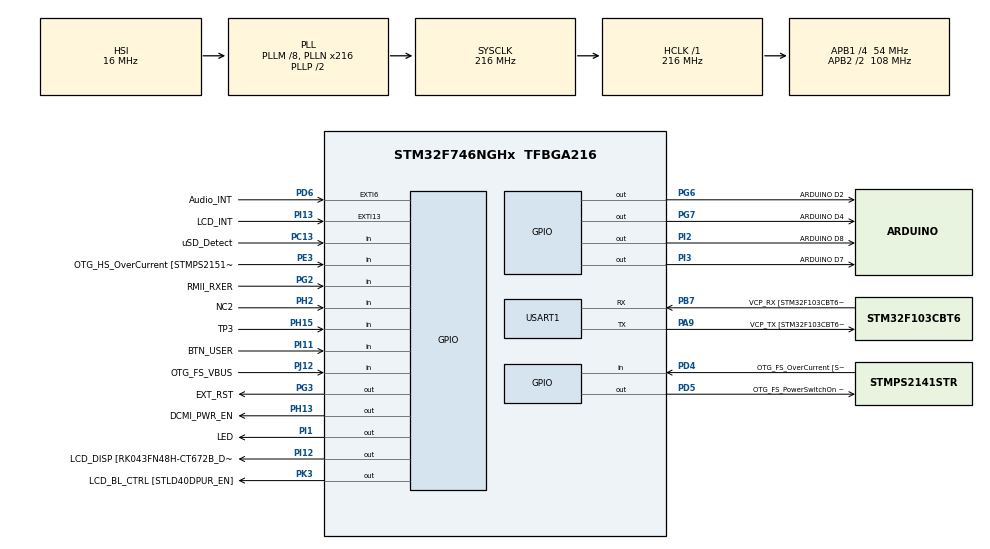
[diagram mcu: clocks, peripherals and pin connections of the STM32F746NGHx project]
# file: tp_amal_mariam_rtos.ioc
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FREERTOS.Tasks01=defaultTask,0,128,StartDefaultTask,Default,NULL,Dynamic,NULL,NULL
FREERTOS.configCHECK_FOR_STACK_OVERFLOW=2
FREERTOS.configGENERATE_RUN_TIME_STATS=1
FREERTOS.configRECORD_STACK_HIGH_ADDRESS=1
FREERTOS.configTOTAL_HEAP_SIZE=30720
FREERTOS.configUSE_STATS_FORMATTING_FUNCTIONS=1
FREERTOS.configUSE_TIMERS=0
FREERTOS.configUSE_TRACE_FACILITY=1
Mcu.Family=STM32F7
Mcu.Name=STM32F746NGHx
Mcu.Package=TFBGA216
NVIC.PriorityGroup=NVIC_PRIORITYGROUP_4
NVIC.TIM6_DAC_IRQn=true\:5\:0\:false\:false\:true\:true\:true\:true\:true
NVIC.USART1_IRQn=true\:5\:0\:false\:false\:true\:true\:true\:true\:true
PA0/WKUP.GPIO_Label=ARDUINO A0
PA0/WKUP.GPIO_Mode=GPIO_MODE_ANALOG
PA0/WKUP.GPIO_PuPd=GPIO_NOPULL
PA0/WKUP.Signal=ADCx_IN0
PA1.GPIO_Label=RMII_REF_CLK [LAN8742A-CZ-TR_REFCLK0]
PA1.Signal=ETH_REF_CLK
PA10.GPIO_Label=OTG_FS_ID
PA10.Signal=USB_OTG_FS_ID
PA11.GPIO_Label=OTG_FS_N
PA11.Signal=USB_OTG_FS_DM
PA12.GPIO_Label=OTG_FS_P
PA12.Signal=USB_OTG_FS_DP
PA13.GPIO_Label=SWDIO
PA13.Mode=Trace_Asynchronous_SW
PA13.Signal=SYS_JTMS-SWDIO
PA14.GPIO_Label=SWCLK
PA14.Mode=Trace_Asynchronous_SW
PA14.Signal=SYS_JTCK-SWCLK
PA15.GPIO_Label=ARDUINO PWM/D9
PA15.GPIO_ModeDefaultPP=GPIO_MODE_AF_PP
PA15.GPIO_PuPd=GPIO_NOPULL
PA15.GPIO_Speed=GPIO_SPEED_FREQ_LOW
PA15.Signal=S_TIM2_CH1_ETR
PA2.GPIO_Label=RMII_MDIO [LAN8742A-CZ-TR_MDIO]
PA2.Signal=ETH_MDIO
PA3.GPIO_Label=ULPI_D0 [USB3320C-EZK_D0]
PA3.Signal=USB_OTG_HS_ULPI_D0
PA4.GPIO_Label=DCMI_HSYNC
PA4.Signal=DCMI_HSYNC
PA5.GPIO_Label=ULPI_CLK [USB3320C-EZK_CLKOUT]
PA5.Signal=USB_OTG_HS_ULPI_CK
PA6.Signal=DCMI_PIXCLK
PA7.GPIO_Label=RMII_CRS_DV [LAN8742A-CZ-TR_CRS_DV]
PA7.Signal=ETH_CRS_DV
PA8.GPIO_Label=ARDUINO PWM/D10
PA8.GPIO_ModeDefaultPP=GPIO_MODE_AF_PP
PA8.GPIO_PuPd=GPIO_NOPULL
PA8.GPIO_Speed=GPIO_SPEED_FREQ_LOW
PA8.Signal=S_TIM1_CH1
PA9.GPIO_Label=VCP_TX [STM32F103CBT6_PA3]
PA9.GPIO_Mode=GPIO_MODE_AF_PP
PA9.GPIO_PuPd=GPIO_NOPULL
PA9.GPIO_Speed=GPIO_SPEED_FREQ_LOW
PA9.Mode=Asynchronous
PA9.Signal=USART1_TX
PB0.GPIO_Label=ULPI_D1 [USB3320C-EZK_D1]
PB0.Signal=USB_OTG_HS_ULPI_D1
PB1.GPIO_Label=ULPI_D2 [USB3320C-EZK_D2]
PB1.Signal=USB_OTG_HS_ULPI_D2
PB10.GPIO_Label=ULPI_D3 [USB3320C-EZK_D3]
PB10.Signal=USB_OTG_HS_ULPI_D3
PB11.GPIO_Label=ULPI_D4 [USB3320C-EZK_D4]
PB11.Signal=USB_OTG_HS_ULPI_D4
PB12.GPIO_Label=ULPI_D5 [USB3320C-EZK_D5]
PB12.Signal=USB_OTG_HS_ULPI_D5
PB13.GPIO_Label=ULPI_D6 [USB3320C-EZK_D6]
PB13.Signal=USB_OTG_HS_ULPI_D6
PB14.GPIO_Label=ARDUINO MISO/D12
PB14.GPIO_Mode=GPIO_MODE_AF_PP
PB14.GPIO_PuPd=GPIO_NOPULL
PB14.GPIO_Speed=GPIO_SPEED_FREQ_LOW
PB14.Signal=SPI2_MISO
PB15.GPIO_Label=ARDUINO MOSI/PWM/D11
PB15.GPIO_Mode=GPIO_MODE_AF_PP
PB15.GPIO_PuPd=GPIO_NOPULL
PB15.GPIO_Speed=GPIO_SPEED_FREQ_LOW
PB15.Signal=SPI2_MOSI
PB2.Signal=QUADSPI_CLK
PB3.GPIO_Label=SWO
PB3.Mode=Trace_Asynchronous_SW
PB3.Signal=SYS_JTDO-SWO
PB4.GPIO_Label=ARDUINO PWM/D3
PB4.GPIO_ModeDefaultPP=GPIO_MODE_AF_PP
PB4.GPIO_PuPd=GPIO_NOPULL
PB4.GPIO_Speed=GPIO_SPEED_FREQ_LOW
PB4.Signal=S_TIM3_CH1
PB5.GPIO_Label=ULPI_D7 [USB3320C-EZK_D7]
PB5.Signal=USB_OTG_HS_ULPI_D7
PB6.GPIO_Label=QSPI_NCS [N25Q128A13EF840E_S]
PB6.Signal=QUADSPI_BK1_NCS
PB7.GPIO_Label=VCP_RX [STM32F103CBT6_PA2]
PB7.GPIO_Mode=GPIO_MODE_AF_PP
PB7.GPIO_PuPd=GPIO_NOPULL
PB7.GPIO_Speed=GPIO_SPEED_FREQ_LOW
PB7.Mode=Asynchronous
PB7.Signal=USART1_RX
PB8.GPIO_Label=ARDUINO SCL/D15
PB8.GPIO_Mode=GPIO_MODE_AF_OD
PB8.GPIO_PuPd=GPIO_NOPULL
PB8.GPIO_Speed=GPIO_SPEED_FREQ_LOW
PB8.Signal=I2C1_SCL
PB9.GPIO_Label=ARDUINO SDA/D14
PB9.GPIO_Mode=GPIO_MODE_AF_OD
PB9.GPIO_PuPd=GPIO_NOPULL
PB9.GPIO_Speed=GPIO_SPEED_FREQ_LOW
PB9.Signal=I2C1_SDA
PC0.GPIO_Label=ULPI_STP [USB3320C-EZK_STP]
PC0.Signal=USB_OTG_HS_ULPI_STP
PC1.GPIO_Label=RMII_MDC [LAN8742A-CZ-TR_MDC]
PC1.Signal=ETH_MDC
PC10.GPIO_Label=SDMMC_D2
PC10.Signal=SDMMC1_D2
PC11.GPIO_Label=SDMMC_D3
PC11.Signal=SDMMC1_D3
PC12.GPIO_Label=SDMMC_CK
PC12.Signal=SDMMC1_CK
PC13.GPIO_Label=uSD_Detect
PC13.Signal=GPIO_Input
PC14/OSC32_IN.GPIO_Label=RCC_OSC32_IN
PC14/OSC32_IN.Signal=RCC_OSC32_IN
PC15/OSC32_OUT.GPIO_Label=RCC_OSC32_OUT
PC15/OSC32_OUT.Signal=RCC_OSC32_OUT
PC2.GPIO_Label=ULPI_DIR [USB3320C-EZK_DIR]
PC2.Signal=USB_OTG_HS_ULPI_DIR
PC3.GPIO_Label=FMC_SDCKE0 [MT48LC4M32B2B5-6A_CKE]
PC3.Signal=FMC_SDCKE0
PC4.GPIO_Label=RMII_RXD0 [LAN8742A-CZ-TR_RXD0]
PC4.Signal=ETH_RXD0
PC5.GPIO_Label=RMII_RXD1 [LAN8742A-CZ-TR_RXD1]
PC5.Signal=ETH_RXD1
PC6.GPIO_Label=ARDUINO TX/D1
PC6.Signal=USART6_TX
PC7.GPIO_Label=ARDUINO RX/D0
PC7.Signal=USART6_RX
PC8.Signal=SDMMC1_D0
PC9.Signal=SDMMC1_D1
PD0.GPIO_Label=FMC_D2 [MT48LC4M32B2B5-6A_DQ2]
PD0.Signal=FMC_D2_DA2
PD1.GPIO_Label=FMC_D3 [MT48LC4M32B2B5-6A_DQ3]
PD1.Signal=FMC_D3_DA3
PD10.GPIO_Label=FMC_D15 [MT48LC4M32B2B5-6A_DQ15]
PD10.Signal=FMC_D15_DA15
PD11.GPIO_Label=QSPI_D0 [N25Q128A13EF840E_DQ0]
PD11.Signal=QUADSPI_BK1_IO0
PD12.GPIO_Label=QSPI_D1 [N25Q128A13EF840E_DQ1]
PD12.Signal=QUADSPI_BK1_IO1
PD13.GPIO_Label=QSPI_D3 [N25Q128A13EF840E_DQ3]
PD13.Signal=QUADSPI_BK1_IO3
PD14.GPIO_Label=FMC_D0 [MT48LC4M32B2B5-6A_DQ0]
PD14.Signal=FMC_D0_DA0
PD15.GPIO_Label=FMC_D1 [MT48LC4M32B2B5-6A_DQ1]
PD15.Signal=FMC_D1_DA1
PD2.GPIO_Label=SDMMC_D0
PD2.Signal=SDMMC1_CMD
PD3.GPIO_Label=DCMI_D5
PD3.Signal=DCMI_D5
PD4.GPIO_Label=OTG_FS_OverCurrent [STMPS2141STR_Fault]
PD4.Signal=GPIO_Input
PD5.GPIO_Label=OTG_FS_PowerSwitchOn [STMPS2141STR_EN]
PD5.PinState=GPIO_PIN_SET
PD5.Signal=GPIO_Output
PD6.GPIO_Label=Audio_INT
PD6.GPIO_ModeDefaultEXTI=GPIO_MODE_EVT_RISING
PD6.Signal=GPXTI6
PD7.GPIO_Label=SPDIF_RX0 [74LVC1G04SE_4]
PD7.Signal=SPDIFRX_IN0
PD8.GPIO_Label=FMC_D13 [MT48LC4M32B2B5-6A_DQ13]
PD8.Signal=FMC_D13_DA13
PD9.GPIO_Label=FMC_D14 [MT48LC4M32B2B5-6A_DQ14]
PD9.Signal=FMC_D14_DA14
PE0.GPIO_Label=FMC_NBL0 [MT48LC4M32B2B5-6A_DQM0]
PE0.Signal=FMC_NBL0
PE1.GPIO_Label=FMC_NBL1 [MT48LC4M32B2B5-6A_DQM1]
PE1.Signal=FMC_NBL1
PE10.GPIO_Label=FMC_D7 [MT48LC4M32B2B5-6A_DQ7]
PE10.Signal=FMC_D7_DA7
PE11.GPIO_Label=FMC_D8 [MT48LC4M32B2B5-6A_DQ8]
PE11.Signal=FMC_D8_DA8
PE12.GPIO_Label=FMC_D9 [MT48LC4M32B2B5-6A_DQ9]
PE12.Signal=FMC_D9_DA9
PE13.GPIO_Label=FMC_D10 [MT48LC4M32B2B5-6A_DQ10]
PE13.Signal=FMC_D10_DA10
PE14.GPIO_Label=FMC_D11 [MT48LC4M32B2B5-6A_DQ11]
PE14.Signal=FMC_D11_DA11
PE15.GPIO_Label=FMC_D12 [MT48LC4M32B2B5-6A_DQ12]
PE15.Signal=FMC_D12_DA12
PE2.GPIO_Label=QSPI_D2 [N25Q128A13EF840E_DQ2]
PE2.Signal=QUADSPI_BK1_IO2
PE3.GPIO_Label=OTG_HS_OverCurrent [STMPS2151STR_FAULT]
PE3.Signal=GPIO_Input
PE4.GPIO_Label=LCD_B0 [RK043FN48H-CT672B_B0]
PE4.Signal=LTDC_B0
PE5.GPIO_Label=DCMI_D6
PE5.Signal=DCMI_D6
PE6.GPIO_Label=DCMI_D7
PE6.Signal=DCMI_D7
PE7.GPIO_Label=FMC_D4 [MT48LC4M32B2B5-6A_DQ4]
PE7.Signal=FMC_D4_DA4
PE8.GPIO_Label=FMC_D5 [MT48LC4M32B2B5-6A_DQ5]
PE8.Signal=FMC_D5_DA5
PE9.GPIO_Label=FMC_D6 [MT48LC4M32B2B5-6A_DQ6]
PE9.Signal=FMC_D6_DA6
PF0.GPIO_Label=FMC_A0 [MT48LC4M32B2B5-6A_A0]
PF0.Signal=FMC_A0
PF1.GPIO_Label=FMC_A1 [MT48LC4M32B2B5-6A_A1]
PF1.Signal=FMC_A1
PF10.GPIO_Label=ARDUINO A1
PF10.GPIO_Mode=GPIO_MODE_ANALOG
PF10.GPIO_PuPd=GPIO_NOPULL
PF10.Signal=ADC3_IN8
PF11.GPIO_Label=FMC_SDNRAS [MT48LC4M32B2B5-6A_RAS]
PF11.Signal=FMC_SDNRAS
PF12.GPIO_Label=FMC_A6 [MT48LC4M32B2B5-6A_A6]
PF12.Signal=FMC_A6
PF13.GPIO_Label=FMC_A7 [MT48LC4M32B2B5-6A_A7]
PF13.Signal=FMC_A7
PF14.GPIO_Label=FMC_A8 [MT48LC4M32B2B5-6A_A8]
PF14.Signal=FMC_A8
PF15.GPIO_Label=FMC_A9 [MT48LC4M32B2B5-6A_A9]
PF15.Signal=FMC_A9
PF2.GPIO_Label=FMC_A2 [MT48LC4M32B2B5-6A_A2]
PF2.Signal=FMC_A2
PF3.GPIO_Label=FMC_A3 [MT48LC4M32B2B5-6A_A3]
PF3.Signal=FMC_A3
PF4.GPIO_Label=FMC_A4 [MT48LC4M32B2B5-6A_A4]
PF4.Signal=FMC_A4
PF5.GPIO_Label=FMC_A5 [MT48LC4M32B2B5-6A_A5]
PF5.Signal=FMC_A5
PF6.GPIO_Label=ARDUINO A5
PF6.GPIO_Mode=GPIO_MODE_ANALOG
PF6.GPIO_PuPd=GPIO_NOPULL
PF6.Signal=ADC3_IN4
PF7.GPIO_Label=ARDUINO A4
PF7.GPIO_Mode=GPIO_MODE_ANALOG
PF7.GPIO_PuPd=GPIO_NOPULL
PF7.Signal=ADC3_IN5
PF8.GPIO_Label=ARDUINO A3
PF8.GPIO_Mode=GPIO_MODE_ANALOG
PF8.GPIO_PuPd=GPIO_NOPULL
PF8.Signal=ADC3_IN6
PF9.GPIO_Label=ARDUINO A2
PF9.GPIO_Mode=GPIO_MODE_ANALOG
PF9.GPIO_PuPd=GPIO_NOPULL
PF9.Signal=ADC3_IN7
PG0.GPIO_Label=FMC_A10 [MT48LC4M32B2B5-6A_A10]
PG0.Signal=FMC_A10
PG1.GPIO_Label=FMC_A11 [MT48LC4M32B2B5-6A_A11]
PG1.Signal=FMC_A11
PG10.GPIO_Label=SAI2_SDB [WM8994ECS/R_ADCDAT1]
PG10.Signal=SAI2_SD_B
PG11.GPIO_Label=RMII_TX_EN [LAN8742A-CZ-TR_TXEN]
PG11.Signal=ETH_TX_EN
PG12.GPIO_Label=LCD_B4 [RK043FN48H-CT672B_B4]
PG12.Signal=LTDC_B4
PG13.GPIO_Label=RMII_TXD0 [LAN8742A-CZ-TR_TXD0]
PG13.Signal=ETH_TXD0
PG14.GPIO_Label=RMII_TXD1 [LAN8742A-CZ-TR_TXD1]
PG14.Signal=ETH_TXD1
PG15.GPIO_Label=FMC_SDNCAS [MT48LC4M32B2B5-6A_CAS]
PG15.Signal=FMC_SDNCAS
PG2.GPIO_Label=RMII_RXER
PG2.Signal=GPIO_Input
PG3.GPIO_Label=EXT_RST
PG3.Signal=GPIO_Output
PG4.GPIO_Label=FMC_BA0 [MT48LC4M32B2B5-6A_BA0]
PG4.Signal=FMC_A14_BA0
PG5.GPIO_Label=FMC_BA1 [MT48LC4M32B2B5-6A_BA1]
PG5.Signal=FMC_A15_BA1
PG6.GPIO_Label=ARDUINO D2
PG6.Signal=GPIO_Output
PG7.GPIO_Label=ARDUINO D4
PG7.Signal=GPIO_Output
PG8.GPIO_Label=FMC_SDCLK [MT48LC4M32B2B5-6A_CLK]
PG8.Signal=FMC_SDCLK
PG9.GPIO_Label=DCMI_VSYNC
PG9.Signal=DCMI_VSYNC
PH0/OSC_IN.GPIO_Label=OSC_25M [NZ2520SB-25.00M_OUT]
PH0/OSC_IN.Mode=HSE-External-Oscillator
PH0/OSC_IN.Signal=RCC_OSC_IN
PH1/OSC_OUT.Mode=HSE-External-Oscillator
PH1/OSC_OUT.Signal=RCC_OSC_OUT
PH10.GPIO_Label=DCMI_D1
PH10.Signal=DCMI_D1
PH11.GPIO_Label=DCMI_D2
PH11.Signal=DCMI_D2
PH12.GPIO_Label=DCMI_D3
PH12.Signal=DCMI_D3
PH13.GPIO_Label=DCMI_PWR_EN
PH13.Signal=GPIO_Output
PH14.GPIO_Label=DCMI_D4
PH14.Signal=DCMI_D4
PH15.GPIO_Label=TP3
PH15.Signal=GPIO_Input
PH2.GPIO_Label=NC2
PH2.Signal=GPIO_Input
PH3.GPIO_Label=FMC_SDNE0 [MT48LC4M32B2B5-6A_CS]
PH3.Signal=FMC_SDNE0
PH4.GPIO_Label=ULPI_NXT [USB3320C-EZK_NXT]
PH4.Signal=USB_OTG_HS_ULPI_NXT
PH5.GPIO_Label=FMC_SDNME [MT48LC4M32B2B5-6A_WE]
PH5.Signal=FMC_SDNWE
PH6.GPIO_Label=ARDUINO PWM/D6
PH6.Signal=S_TIM12_CH1
PH7.GPIO_Label=LCD_SCL [RK043FN48H-CT672B_SCL]
PH7.Signal=I2C3_SCL
PH8.GPIO_Label=LCD_SDA [RK043FN48H-CT672B_SDA]
PH8.Signal=I2C3_SDA
PH9.GPIO_Label=DCMI_D0
PH9.Signal=DCMI_D0
PI0.GPIO_Label=ARDUINO PWM/CS/D5
PI0.GPIO_ModeDefaultPP=GPIO_MODE_AF_PP
PI0.GPIO_PuPd=GPIO_NOPULL
PI0.GPIO_Speed=GPIO_SPEED_FREQ_LOW
PI0.Signal=S_TIM5_CH4
PI1.GPIO_Label=LED
PI1.Signal=GPIO_Output
PI10.GPIO_Label=LCD_HSYNC [RK043FN48H-CT672B_HSYNC]
PI10.Signal=LTDC_HSYNC
PI11.GPIO_Label=BTN_USER
PI11.GPIO_PuPd=GPIO_PULLUP
PI11.Signal=GPIO_Input
PI12.GPIO_Label=LCD_DISP [RK043FN48H-CT672B_DISP] 
PI12.Signal=GPIO_Output
PI13.GPIO_Label=LCD_INT
PI13.GPIO_ModeDefaultEXTI=GPIO_MODE_EVT_RISING
PI13.Signal=GPXTI13
PI14.GPIO_Label=LCD_CLK [RK043FN48H-CT672B_CLK]
PI14.Signal=LTDC_CLK
PI15.GPIO_Label=LCD_R0 [RK043FN48H-CT672B_R0]
PI15.Signal=LTDC_R0
PI2.GPIO_Label=ARDUINO D8
PI2.Signal=GPIO_Output
PI3.GPIO_Label=ARDUINO D7
PI3.Signal=GPIO_Output
PI4.GPIO_Label=SAI2_MCLKA [WM8994ECS/R_MCLK1]
PI4.Signal=SAI2_MCLK_A
PI5.GPIO_Label=SAI2_SCKA [WM8994ECS/R_BCLK1]
PI5.Signal=SAI2_SCK_A
PI6.GPIO_Label=SAI2_SDA [WM8994ECS/R_DACDAT1]
PI6.Signal=SAI2_SD_A
PI7.GPIO_Label=SAI2_FSA [WM8994ECS/R_LRCLK1]
PI7.Signal=SAI2_FS_A
PI8.GPIO_Label=NC1 [TP2]
PI8.Signal=RTC_TS
PI9.GPIO_Label=LCD_VSYNC [RK043FN48H-CT672B_VSYNC]
PI9.Signal=LTDC_VSYNC
PJ0.GPIO_Label=LCD_R1 [RK043FN48H-CT672B_R1]
PJ0.Signal=LTDC_R1
PJ1.GPIO_Label=LCD_R2 [RK043FN48H-CT672B_R2]
PJ1.Signal=LTDC_R2
PJ10.GPIO_Label=LCD_G3 [RK043FN48H-CT672B_G3]
PJ10.Signal=LTDC_G3
PJ11.GPIO_Label=LCD_G4 [RK043FN48H-CT672B_G4]
PJ11.Signal=LTDC_G4
PJ12.GPIO_Label=OTG_FS_VBUS
PJ12.Signal=GPIO_Input
PJ13.GPIO_Label=LCD_B1 [RK043FN48H-CT672B_B1]
PJ13.Signal=LTDC_B1
PJ14.GPIO_Label=LCD_B2 [RK043FN48H-CT672B_B2]
PJ14.Signal=LTDC_B2
PJ15.GPIO_Label=LCD_B3 [RK043FN48H-CT672B_B3]
PJ15.Signal=LTDC_B3
PJ2.GPIO_Label=LCD_R3 [RK043FN48H-CT672B_R3]
PJ2.Signal=LTDC_R3
PJ3.GPIO_Label=LCD_R4 [RK043FN48H-CT672B_R4]
PJ3.Signal=LTDC_R4
PJ4.GPIO_Label=LCD_R5 [RK043FN48H-CT672B_R5]
PJ4.Signal=LTDC_R5
PJ5.GPIO_Label=LCD_R6 [RK043FN48H-CT672B_R6]
PJ5.Signal=LTDC_R6
PJ6.GPIO_Label=LCD_R7 [RK043FN48H-CT672B_R7]
PJ6.Signal=LTDC_R7
PJ7.GPIO_Label=LCD_G0 [RK043FN48H-CT672B_G0]
PJ7.Signal=LTDC_G0
PJ8.GPIO_Label=LCD_G1 [RK043FN48H-CT672B_G1]
PJ8.Signal=LTDC_G1
PJ9.GPIO_Label=LCD_G2 [RK043FN48H-CT672B_G2]
PJ9.Signal=LTDC_G2
PK0.GPIO_Label=LCD_G5 [RK043FN48H-CT672B_G5]
PK0.Signal=LTDC_G5
PK1.GPIO_Label=LCD_G6 [RK043FN48H-CT672B_G6]
PK1.Signal=LTDC_G6
PK2.GPIO_Label=LCD_G7 [RK043FN48H-CT672B_G7]
PK2.Signal=LTDC_G7
PK3.GPIO_Label=LCD_BL_CTRL [STLD40DPUR_EN]
PK3.Signal=GPIO_Output
PK4.GPIO_Label=LCD_B5 [RK043FN48H-CT672B_B5]
PK4.Signal=LTDC_B5
PK5.GPIO_Label=LCD_B6 [RK043FN48H-CT672B_B6]
PK5.Signal=LTDC_B6
PK6.GPIO_Label=LCD_B7 [RK043FN48H-CT672B_B7]
PK6.Signal=LTDC_B7
PK7.GPIO_Label=LCD_DE [RK043FN48H-CT672B_DE]
PK7.Signal=LTDC_DE
ProjectManager.HeapSize=0x200
ProjectManager.StackSize=0x400
ProjectManager.TargetToolchain=STM32CubeIDE
RCC.AHBFreq_Value=216000000
RCC.APB1CLKDivider=RCC_HCLK_DIV4
RCC.APB1Freq_Value=54000000
RCC.APB1TimFreq_Value=108000000
RCC.APB2CLKDivider=RCC_HCLK_DIV2
RCC.APB2Freq_Value=108000000
RCC.APB2TimFreq_Value=216000000
RCC.CortexFreq_Value=216000000
RCC.HCLKFreq_Value=216000000
RCC.HSE_VALUE=25000000
RCC.HSI_VALUE=16000000
RCC.LSE_VALUE=32768
RCC.PLLM=8
RCC.PLLN=216
RCC.SYSCLKFreq_VALUE=216000000
RCC.SYSCLKSource=RCC_SYSCLKSOURCE_PLLCLK
RCC.USBFreq_Value=216000000
RCC.VCOOutputFreq_Value=432000000
SH.ADCx_IN0.0=ADC3_IN0
SH.FMC_A0.0=FMC_A0
SH.FMC_A1.0=FMC_A1
SH.FMC_A10.0=FMC_A10
SH.FMC_A11.0=FMC_A11
SH.FMC_A14_BA0.0=FMC_BA0
SH.FMC_A15_BA1.0=FMC_BA1
SH.FMC_A2.0=FMC_A2
SH.FMC_A3.0=FMC_A3
SH.FMC_A4.0=FMC_A4
SH.FMC_A5.0=FMC_A5
SH.FMC_A6.0=FMC_A6
SH.FMC_A7.0=FMC_A7
SH.FMC_A8.0=FMC_A8
SH.FMC_A9.0=FMC_A9
SH.FMC_D0_DA0.0=FMC_D0
SH.FMC_D10_DA10.0=FMC_D10
SH.FMC_D11_DA11.0=FMC_D11
SH.FMC_D12_DA12.0=FMC_D12
SH.FMC_D13_DA13.0=FMC_D13
SH.FMC_D14_DA14.0=FMC_D14
SH.FMC_D15_DA15.0=FMC_D15
SH.FMC_D1_DA1.0=FMC_D1
SH.FMC_D2_DA2.0=FMC_D2
SH.FMC_D3_DA3.0=FMC_D3
SH.FMC_D4_DA4.0=FMC_D4
SH.FMC_D5_DA5.0=FMC_D5
SH.FMC_D6_DA6.0=FMC_D6
SH.FMC_D7_DA7.0=FMC_D7
SH.FMC_D8_DA8.0=FMC_D8
SH.FMC_D9_DA9.0=FMC_D9
SH.FMC_NBL0.0=FMC_NBL0
SH.FMC_NBL1.0=FMC_NBL1
SH.FMC_SDCLK.0=FMC_SDCLK
SH.FMC_SDNCAS.0=FMC_SDNCAS
SH.FMC_SDNRAS.0=FMC_SDNRAS
SH.FMC_SDNWE.0=FMC_SDNWE
SH.S_TIM12_CH1.0=TIM12_CH1
SH.S_TIM1_CH1.0=TIM1_CH1
SH.S_TIM2_CH1_ETR.0=TIM2_CH1
SH.S_TIM3_CH1.0=TIM3_CH1
SH.S_TIM5_CH4.0=TIM5_CH4
USART1.VirtualMode-Asynchronous=VM_ASYNC
VP_FREERTOS_VS_CMSIS_V1.Mode=CMSIS_V1
VP_TIM6_VS_ClockSourceINT.Mode=Enable_Timer
board=STM32F746G-DISCO

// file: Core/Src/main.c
/* USER CODE BEGIN Header */
/**
 ******************************************************************************
 * @file           : main.c
 * @brief          : Main program body
 ******************************************************************************
 * @attention
 *
 * Copyright (c) 2025 STMicroelectronics.
 * All rights reserved.
 *
 * This software is licensed under terms that can be found in the LICENSE file
 * in the root directory of this software component.
 * If no LICENSE file comes with this software, it is provided AS-IS.
 *
 ******************************************************************************
 */
/* USER CODE END Header */
#include "main.h"
#include "cmsis_os.h"
#include "tim.h"
#include "usart.h"
#include "gpio.h"

/* USER CODE BEGIN Includes */
#include <stdio.h>
#include <shell.h>
#include <drv_uart1.h>
/* USER CODE END Includes */

/* USER CODE BEGIN PD */
#define STACK_SIZE 256
#define STACK_SIZE_LONG 512
#define STACK_SIZE_ERROR 100

#define TASK1_PRIORITY 1
#define TASK2_PRIORITY 2
#define TASK1_DELAY 1
#define TASK2_DELAY 2

#define QUEUE_LENGTH 5
#define ITEM_SIZE sizeof(uint32_t)

#define TASK_SHELL_STACK_DEPTH 512
#define TASK_SHELL_PRIORITY 1
#define TASK_LED_PRIORITY 1
#define TASK_SPAM_PRIORITY 1
#define TASK_OVER_PRIORITY 1

/* USER CODE END PD */

/* USER CODE BEGIN PV */

TaskHandle_t taskTakeHandle;
SemaphoreHandle_t xSemaphore;
QueueHandle_t xQueue;

SemaphoreHandle_t xMutex;

TaskHandle_t xLedTaskHandle = NULL;
TaskHandle_t h_task_shell = NULL;

TaskHandle_t xSpamHandle = NULL;
SemaphoreHandle_t xMutexSpam;

TaskHandle_t xOverflowHandle = NULL;
SemaphoreHandle_t xMutexPrint;

typedef struct{
	char* msg;
	int count;
}SpamParams;

static SpamParams spam_params;

/* USER CODE END PV */

void SystemClock_Config(void);
void MX_FREERTOS_Init(void);
/* USER CODE BEGIN PFP */
void BlinkTask(void *argument);
/* USER CODE END PFP */

/* USER CODE BEGIN 0 */

int __io_putchar(int ch) {
	HAL_UART_Transmit(&huart1, (uint8_t *)&ch, 1, HAL_MAX_DELAY);
	return ch;
}

void BlinkTask(void *argument)
{
	for(;;)
	{
		HAL_GPIO_TogglePin(LED_GPIO_Port, LED_Pin);
		printf("LED toggled\r\n");
		vTaskDelay(100 / portTICK_PERIOD_MS);
	}
}

void taskGive(void *pvParameters)
{
	uint32_t timerValue = 0;
	for (;;)
	{
		printf("taskGive : avant envoi à la queue\r\n");
		if (xQueueSend(xQueue, &timerValue, portMAX_DELAY) == pdPASS)
		{
			printf("taskGive : valeur envoyée : %u\r\n", timerValue);
		}
		else{
			printf("Erreur envoie de la queue\r\n");
			Error_Handler();
		}
		timerValue++;
		vTaskDelay(pdMS_TO_TICKS(100));
	}
}

void taskTake(void *pvParameters)
{
	uint32_t receivedValue;
	for (;;)
	{
		printf("taskTake : en attente de valeur dans la queue...\r\n");
		if (xQueueReceive(xQueue, &receivedValue, portMAX_DELAY) == pdPASS)
		{
			printf("taskTake : valeur reçue : %u\r\n", receivedValue);
			Error_Handler();
		}
		else{
			printf("Erreur valeur non reçue\r\n");
			Error_Handler();
		}
	}
}

void task_bug(void * pvParameters)
{
	int delay = (int) pvParameters;
	for (;;)
	{
		if (xSemaphoreTake(xMutex, portMAX_DELAY) == pdTRUE)
		{
			printf("Je suis %s et je m'endors pour %d ticks\r\n",
					pcTaskGetName(NULL), delay);
			xSemaphoreGive(xMutex);
			Error_Handler();
		}
		else{
			printf("Erreur Semaphore Mutex");
			Error_Handler();
		}
		vTaskDelay(pdMS_TO_TICKS(delay));
	}
}

int fonction(int argc, char ** argv)
{
	printf("Je suis une fonction bidon\r\n");
	return 0;
}

void HAL_UART_RxCpltCallback(UART_HandleTypeDef *huart)
{
	if (huart->Instance == USART1)
	{
		shell_uart_receive_irq_cb();
	}
	else{
		Error_Handler();
	}
}

void led_task(void *pvParameters){
	int period = (int)pvParameters;
	while(1){
		HAL_GPIO_WritePin(LED_GPIO_Port, LED_Pin,GPIO_PIN_SET);
		vTaskDelay(period);
		HAL_GPIO_WritePin(LED_GPIO_Port, LED_Pin,GPIO_PIN_RESET);
		vTaskDelay(period);
	}
}

int sh_led(int argc, char ** argv)
{
	if(argc>1){
		int period = atoi(argv[1]);
		if(period ==0){
			if (xLedTaskHandle != NULL) {
				vTaskDelete(xLedTaskHandle);
				xLedTaskHandle = NULL;
				HAL_GPIO_WritePin(LED_GPIO_Port, LED_Pin, GPIO_PIN_RESET);
				return 0;
			}
		}
		else{
			if (xLedTaskHandle != NULL) {
				vTaskDelete(xLedTaskHandle);
				xLedTaskHandle = NULL;
			}
		}
		BaseType_t ret = xTaskCreate(led_task, "LED_Task", STACK_SIZE_LONG, (void*)period, TASK_LED_PRIORITY, &xLedTaskHandle);
		if (ret == pdPASS) {
			printf("Tâche LED lancée avec une période de %d ms\r\n",period);
		} else {
			printf("Erreur création tâche LED\r\n");
			Error_Handler();
		}
		return 1;
	}
	else{
		printf("Erreur : ajouter la période\r\n");
		Error_Handler();
		return -1;
	}
}

void spam_task(void *pvParameters) {
	SpamParams *params = (SpamParams*) pvParameters;
	char* msg = params->msg;
	int count = params->count;
	int i;

	if (xMutexSpam == NULL) {
		xMutexSpam = xSemaphoreCreateMutex();
	}

	if (xMutexSpam != NULL) {
		if (xSemaphoreTake(xMutexSpam, portMAX_DELAY) == pdPASS) {
			for (i = 0; i < count; i++) {
				printf("%s\r\n", msg);
				vTaskDelay(pdMS_TO_TICKS(100));
			}
			xSemaphoreGive(xMutexSpam);
		}
	} else {
		printf("Erreur création du mutex\r\n");
		Error_Handler();
	}

	if (xSpamHandle != NULL) {
		vTaskDelete(xSpamHandle);
		xSpamHandle = NULL;
	}
}

int sh_spam(int argc, char **argv) {
	if (argc > 2) {
		spam_params.msg = argv[1];
		spam_params.count = atoi(argv[2]);

		if (xMutexSpam == NULL) {
			xMutexSpam = xSemaphoreCreateMutex();
		}

		if (xMutexSpam != NULL) {
			if (xSemaphoreTake(xMutexSpam, portMAX_DELAY) == pdPASS) {
				BaseType_t ret = xTaskCreate(spam_task, "SPAM_task", STACK_SIZE_LONG, (void*)&spam_params, TASK_SPAM_PRIORITY, &xSpamHandle);
				if (ret == pdPASS) {
					printf("Debut SPAM : \r\n");
				} else {
					printf("Erreur création tâche SPAM\r\n");
					Error_Handler();
				}
				xSemaphoreGive(xMutexSpam);
			}
		} else {
			printf("Erreur création du mutex\r\n");
			Error_Handler();
			return -1;
		}
		return 1;
	} else {
		printf("Erreur : ajouter le message et le nombre de répétitions\r\n");
		Error_Handler();
		return -1;
	}
}

void overflow_task(void *pvParameters)
{
	if (xMutexPrint != NULL && xSemaphoreTake(xMutexPrint, portMAX_DELAY) == pdPASS) {
		printf("Démarrage de la tâche Overflow...\r\n");
		xSemaphoreGive(xMutexPrint);
	}

	volatile char array[2000];
	int i;
	for(i = 0; i < 2000; i++) {
		array[i] = (char)i;
	}

	if (xMutexPrint != NULL && xSemaphoreTake(xMutexPrint, portMAX_DELAY) == pdPASS) {
		printf("Fin de la tâche Overflow\r\n");
		xSemaphoreGive(xMutexPrint);
	}

	vTaskDelete(NULL);
}

int sh_overflow(int argc, char **argv)
{
	BaseType_t ret = xTaskCreate(overflow_task, "Overflow_task", STACK_SIZE_ERROR, NULL,
			TASK_OVER_PRIORITY, &xOverflowHandle);

	if (xMutexPrint != NULL && xSemaphoreTake(xMutexPrint, portMAX_DELAY) == pdPASS) {
		if (ret == pdPASS) {
			printf("Tâche Overflow créée avec succès !\r\n");
		} else {
			printf("Erreur création tâche Overflow.\r\n");
			Error_Handler();
		}
		xSemaphoreGive(xMutexPrint);
	}

	return 1;
}

void vApplicationStackOverflowHook(TaskHandle_t xTask, char *pcTaskName)
{
	printf("Stack overflow détecté dans la tâche : %s\r\n", pcTaskName);
	Error_Handler();
}

void configureTimerForRunTimeStats(void)
{
	HAL_TIM_Base_Start_IT(&htim6);
}

void stats_task(void *pvParameters)
{
	char stats_buffer[512];
	char task_list_buffer[512];

	printf("\r\n=== Liste des tâches (vTaskList) ===\r\n");
	vTaskList(task_list_buffer);
	printf("Nom\tEtat\tPriorité\tStack\tN°\r\n");
	printf("%s\r\n", task_list_buffer);

	printf("=== Statistiques d'exécution (vTaskGetRunTimeStats) ===\r\n");
	vTaskGetRunTimeStats(stats_buffer);
	printf("Nom\tTemps\t\t%% CPU\r\n");
	printf("%s\r\n", stats_buffer);

	vTaskDelay(pdMS_TO_TICKS(2000));
}

int sh_stats(int argc, char **argv)
{
	BaseType_t ret = xTaskCreate(stats_task, "Stats_task", 512, NULL, tskIDLE_PRIORITY + 1, NULL);
	if (ret == pdPASS) {
		//printf("Tâche de statistiques lancée.\r\n");
	} else {
		//printf("Erreur création tâche de statistiques.\r\n");
		Error_Handler();
	}
	return 0;
}

void task_shell(void * unused){
	shell_init();
	shell_add('f', fonction, "Une fonction inutile");
	shell_add('l', sh_led, "Fonction LED");
	shell_add('s', sh_spam, "Fonction SPAM");
	shell_add('e',sh_stats, "Fonction Stats");
	//shell_add('o',sh_overflow, "Fonction Overflow");
	shell_run();	// boucle infinie
}

extern volatile unsigned long ulHighFrequencyTimerTicks;

unsigned long getRunTimeCounterValue(void)
{
	return ulHighFrequencyTimerTicks++;
}

/* USER CODE END 0 */

int main(void)
{

	/* MCU Configuration--------------------------------------------------------*/

	/* Reset of all peripherals, Initializes the Flash interface and the Systick. */
	HAL_Init();

	/* Configure the system clock */
	SystemClock_Config();

	/* Initialize all configured peripherals */
	MX_GPIO_Init();
	MX_USART1_UART_Init();
	MX_TIM6_Init();
	/* USER CODE BEGIN 2 */

	//HAL_GPIO_WritePin(LED_GPIO_Port, LED_Pin, GPIO_PIN_SET);

	BaseType_t ret;
	//
	//	xTaskCreate(BlinkTask, "LED_Task", TASK_STACK, NULL, BLINK_TASK_PRIORITY, NULL);

	////////Semaphore
	xSemaphore = xSemaphoreCreateBinary();

	//	if(xSemaphore!=NULL)
	//	{
	//		xTaskCreate(taskGive, "Give", STACK_SIZE,NULL,2,NULL);
	//		xTaskCreate(taskTake, "Take", STACK_SIZE,NULL,1,NULL);
	//
	//		vTaskStartScheduler();
	//	}

	////////////Queues
	char stats_buffer[512];  // Taille suffisante
	vTaskGetRunTimeStats(stats_buffer);
	printf("%s\r\n", stats_buffer);

	//	xQueue = xQueueCreate(QUEUE_LENGTH, ITEM_SIZE);
	//	configASSERT(xQueue!=NULL);
	//
	//	ret = xTaskCreate(taskTake, "taskTake", STACK_SIZE, NULL, 2, &taskTakeHandle);
	//	configASSERT(ret == pdPASS);
	//
	//	ret = xTaskCreate(taskGive, "taskGive", STACK_SIZE, NULL, 1, NULL);
	//	configASSERT(ret == pdPASS);
	//
	//	vTaskStartScheduler();

	//	xMutex = xSemaphoreCreateMutex();
	//	configASSERT(xMutex != NULL);
	//
	//	ret = xTaskCreate(task_bug, "Tache 1", STACK_SIZE, (void *) TASK1_DELAY, TASK1_PRIORITY, NULL);
	//	configASSERT(pdPASS == ret);
	//	ret = xTaskCreate(task_bug, "Tache 2", STACK_SIZE, (void *) TASK2_DELAY, TASK2_PRIORITY, NULL);
	//	configASSERT(pdPASS == ret);

	//vTaskStartScheduler();

	xMutexPrint = xSemaphoreCreateMutex();
	if (xMutexPrint == NULL) {
		Error_Handler();  // Création mutex échouée
	}

	//////////////SHELL

	if (xTaskCreate(task_shell, "Shell", TASK_SHELL_STACK_DEPTH, NULL, TASK_SHELL_PRIORITY, &h_task_shell) != pdPASS)
	{
		printf("Error creating task shell\r\n");
		Error_Handler();
	}

	vTaskStartScheduler();
	/* USER CODE END 2 */

	/* Call init function for freertos objects (in cmsis_os2.c) */
	MX_FREERTOS_Init();

	/* Start scheduler */
	osKernelStart();

	/* We should never get here as control is now taken by the scheduler */

	/* Infinite loop */
	while (1)
	{

	}
}

void SystemClock_Config(void)
{
	RCC_OscInitTypeDef RCC_OscInitStruct = {0};
	RCC_ClkInitTypeDef RCC_ClkInitStruct = {0};

	/** Configure the main internal regulator output voltage
	 */
	__HAL_RCC_PWR_CLK_ENABLE();
	__HAL_PWR_VOLTAGESCALING_CONFIG(PWR_REGULATOR_VOLTAGE_SCALE1);

	/** Initializes the RCC Oscillators according to the specified parameters
	 * in the RCC_OscInitTypeDef structure.
	 */
	RCC_OscInitStruct.OscillatorType = RCC_OSCILLATORTYPE_HSI;
	RCC_OscInitStruct.HSIState = RCC_HSI_ON;
	RCC_OscInitStruct.HSICalibrationValue = RCC_HSICALIBRATION_DEFAULT;
	RCC_OscInitStruct.PLL.PLLState = RCC_PLL_ON;
	RCC_OscInitStruct.PLL.PLLSource = RCC_PLLSOURCE_HSI;
	RCC_OscInitStruct.PLL.PLLM = 8;
	RCC_OscInitStruct.PLL.PLLN = 216;
	RCC_OscInitStruct.PLL.PLLP = RCC_PLLP_DIV2;
	RCC_OscInitStruct.PLL.PLLQ = 2;
	if (HAL_RCC_OscConfig(&RCC_OscInitStruct) != HAL_OK)
	{
		Error_Handler();
	}

	/** Activate the Over-Drive mode
	 */
	if (HAL_PWREx_EnableOverDrive() != HAL_OK)
	{
		Error_Handler();
	}

	/** Initializes the CPU, AHB and APB buses clocks
	 */
	RCC_ClkInitStruct.ClockType = RCC_CLOCKTYPE_HCLK|RCC_CLOCKTYPE_SYSCLK
			|RCC_CLOCKTYPE_PCLK1|RCC_CLOCKTYPE_PCLK2;
	RCC_ClkInitStruct.SYSCLKSource = RCC_SYSCLKSOURCE_PLLCLK;
	RCC_ClkInitStruct.AHBCLKDivider = RCC_SYSCLK_DIV1;
	RCC_ClkInitStruct.APB1CLKDivider = RCC_HCLK_DIV4;
	RCC_ClkInitStruct.APB2CLKDivider = RCC_HCLK_DIV2;

	if (HAL_RCC_ClockConfig(&RCC_ClkInitStruct, FLASH_LATENCY_7) != HAL_OK)
	{
		Error_Handler();
	}
}

void Error_Handler(void)
{
	/* USER CODE BEGIN Error_Handler_Debug */
	/* User can add his own implementation to report the HAL error return state */
	__disable_irq();
	while (1)
	{
		printf("ERREUR\r\n");
		HAL_Delay(500);
	}
	/* USER CODE END Error_Handler_Debug */
}

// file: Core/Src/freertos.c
/* USER CODE BEGIN Header */
/**
  ******************************************************************************
  * File Name          : freertos.c
  * Description        : Code for freertos applications
  ******************************************************************************
  * @attention
  *
  * Copyright (c) 2025 STMicroelectronics.
  * All rights reserved.
  *
  * This software is licensed under terms that can be found in the LICENSE file
  * in the root directory of this software component.
  * If no LICENSE file comes with this software, it is provided AS-IS.
  *
  ******************************************************************************
  */
/* USER CODE END Header */

#include "FreeRTOS.h"
#include "task.h"
#include "main.h"
#include "cmsis_os.h"

/* USER CODE BEGIN Includes */
#include "tim.h"
#include "stm32f7xx_it.h"
/* USER CODE END Includes */

osThreadId defaultTaskHandle;

void StartDefaultTask(void const * argument);

void MX_FREERTOS_Init(void); /* (MISRA C 2004 rule 8.1) */

/* GetIdleTaskMemory prototype (linked to static allocation support) */
void vApplicationGetIdleTaskMemory( StaticTask_t **ppxIdleTaskTCBBuffer, StackType_t **ppxIdleTaskStackBuffer, uint32_t *pulIdleTaskStackSize );

/* Hook prototypes */
void configureTimerForRunTimeStats(void);
unsigned long getRunTimeCounterValue(void);
void vApplicationStackOverflowHook(xTaskHandle xTask, signed char *pcTaskName);

/* USER CODE BEGIN 1 */
/* Functions needed when configGENERATE_RUN_TIME_STATS is on */
__weak void configureTimerForRunTimeStats(void)
{
	HAL_TIM_Base_Start_IT(&htim6);
}

extern volatile unsigned long ulHighFrequencyTimerTicks;
__weak unsigned long getRunTimeCounterValue(void)
{
return ulHighFrequencyTimerTicks++;
}
/* USER CODE END 1 */

/* USER CODE BEGIN 4 */
__weak void vApplicationStackOverflowHook(xTaskHandle xTask, signed char *pcTaskName)
{
   /* Run time stack overflow checking is performed if
   configCHECK_FOR_STACK_OVERFLOW is defined to 1 or 2. This hook function is
   called if a stack overflow is detected. */
}
/* USER CODE END 4 */

/* USER CODE BEGIN GET_IDLE_TASK_MEMORY */
static StaticTask_t xIdleTaskTCBBuffer;
static StackType_t xIdleStack[configMINIMAL_STACK_SIZE];

void vApplicationGetIdleTaskMemory( StaticTask_t **ppxIdleTaskTCBBuffer, StackType_t **ppxIdleTaskStackBuffer, uint32_t *pulIdleTaskStackSize )
{
  *ppxIdleTaskTCBBuffer = &xIdleTaskTCBBuffer;
  *ppxIdleTaskStackBuffer = &xIdleStack[0];
  *pulIdleTaskStackSize = configMINIMAL_STACK_SIZE;
  /* place for user code */
}
/* USER CODE END GET_IDLE_TASK_MEMORY */

void MX_FREERTOS_Init(void) {

  /* Create the thread(s) */
  /* definition and creation of defaultTask */
  osThreadDef(defaultTask, StartDefaultTask, osPriorityNormal, 0, 128);
  defaultTaskHandle = osThreadCreate(osThread(defaultTask), NULL);

}

void StartDefaultTask(void const * argument)
{
  for(;;)
  {
    osDelay(1);
  }
}
